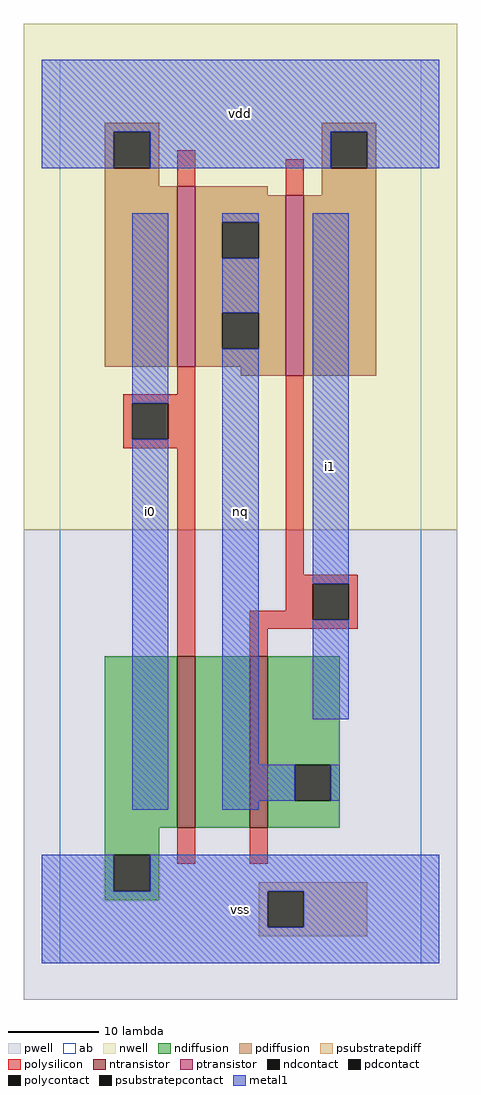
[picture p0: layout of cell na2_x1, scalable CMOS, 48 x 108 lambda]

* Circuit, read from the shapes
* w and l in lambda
.subckt na2_x1 i0 i1 nq vdd vss
M1 n1 i0 vss vss nfet w=19 l=2
M2 nq i1 n1 vss nfet w=19 l=2
M3 nq i0 vdd n2 pfet w=20 l=2
M4 vdd i1 nq n2 pfet w=20 l=2
.ends

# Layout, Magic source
magic
tech scmos
<< ab >>
rect 0 0 40 100
<< pwell >>
rect -4 -4 44 48
<< nwell >>
rect -4 48 44 104
<< polysilicon >>
rect 13 86 15 90
rect 25 85 27 89
rect 13 63 15 66
rect 7 62 15 63
rect 7 58 8 62
rect 12 58 15 62
rect 7 57 15 58
rect 13 34 15 57
rect 25 43 27 65
rect 25 42 33 43
rect 25 39 28 42
rect 21 38 28 39
rect 32 38 33 42
rect 21 37 33 38
rect 21 34 23 37
rect 13 11 15 15
rect 21 11 23 15
<< ndiffusion >>
rect 5 15 13 34
rect 15 15 21 34
rect 23 22 31 34
rect 23 18 26 22
rect 30 18 31 22
rect 23 15 31 18
rect 5 12 11 15
rect 5 8 6 12
rect 10 8 11 12
rect 5 7 11 8
<< pdiffusion >>
rect 5 92 11 93
rect 5 88 6 92
rect 10 88 11 92
rect 29 92 35 93
rect 5 86 11 88
rect 5 66 13 86
rect 15 85 23 86
rect 29 88 30 92
rect 34 88 35 92
rect 29 85 35 88
rect 15 82 25 85
rect 15 78 18 82
rect 22 78 25 82
rect 15 72 25 78
rect 15 68 18 72
rect 22 68 25 72
rect 15 66 25 68
rect 20 65 25 66
rect 27 65 35 85
<< metal1 >>
rect -2 92 42 100
rect -2 88 6 92
rect 10 88 30 92
rect 34 88 42 92
rect 8 62 12 83
rect 8 17 12 58
rect 18 82 22 83
rect 18 72 22 78
rect 18 22 22 68
rect 28 42 32 83
rect 28 27 32 38
rect 18 18 26 22
rect 30 18 31 22
rect 18 17 22 18
rect -2 8 6 12
rect 10 8 42 12
rect -2 4 23 8
rect 27 4 42 8
rect -2 0 42 4
<< ntransistor >>
rect 13 15 15 34
rect 21 15 23 34
<< ptransistor >>
rect 13 66 15 86
rect 25 65 27 85
<< polycontact >>
rect 8 58 12 62
rect 28 38 32 42
<< ndcontact >>
rect 26 18 30 22
rect 6 8 10 12
<< pdcontact >>
rect 6 88 10 92
rect 30 88 34 92
rect 18 78 22 82
rect 18 68 22 72
<< psubstratepcontact >>
rect 23 4 27 8
<< psubstratepdiff >>
rect 22 8 34 9
rect 22 4 23 8
rect 27 4 34 8
rect 22 3 34 4
<< labels >>
rlabel metal1 10 50 10 50 6 i0
rlabel metal1 20 6 20 6 6 vss
rlabel metal1 20 50 20 50 6 nq
rlabel metal1 20 94 20 94 6 vdd
rlabel metal1 30 55 30 55 6 i1
<< end >>
